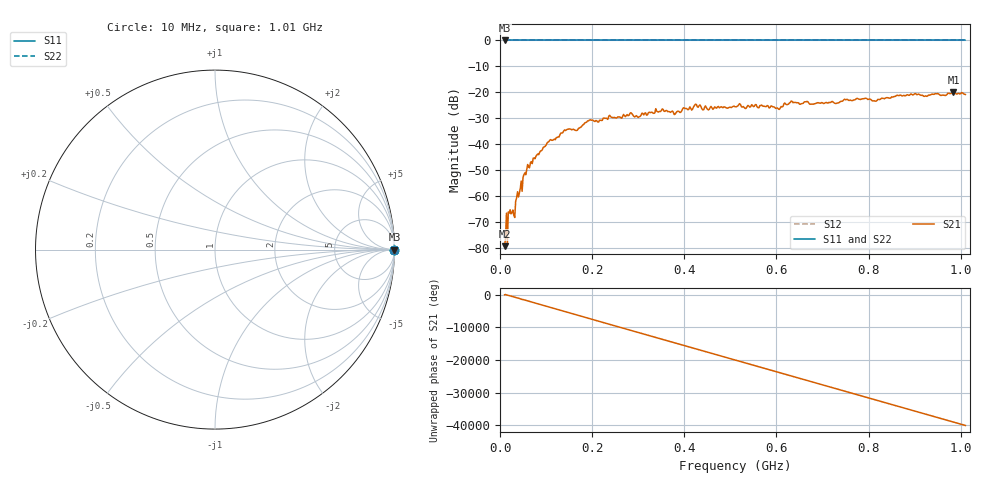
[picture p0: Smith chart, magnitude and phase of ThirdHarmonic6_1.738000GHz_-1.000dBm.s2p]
! 8/16/2025 8:57:01 PM
! C:\ANRITSUVNA\TEMP\TEMP.S2P
! CHANNEL.1
! TR.MEASUREMENT
! RAW.DATA
! RF.CORRECTION.OFF
! AVERAGING.OFF
! IF.BANDWIDTH: 5KHZ
! SWEEPTYPE:  FREQ.SWEEP(Linear)
! Reference Plane Port Info
! PORT:  PORT1  PORT2
! DISTANCE:  0  m  0  m
! TIME:  0  s  0  s
! PHASE.OFFSET:  0  deg.  0  deg.
! LOSS:  0  dB  0  dB
! REF.LOSS:  0  dB  0  dB
! REF.FREQ:  0  Hz  0  Hz
! Power Info
! POWER:  -20  dBm  -20  dBm
! EFF.POWER:  -20  dBm  -20  dBm
! SOURCE.ATTEN:  0  dB  0  dB
! TEST.ATTEN:  0  dB  0  dB
# GHZ S RI R 50.0
! FREQ.GHZ  S11RE  S11IM  S21RE  S21IM  S12RE  S12IM  S22RE  S22IM
!; PortSelection: Port_12
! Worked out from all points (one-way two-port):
!   501 points, 10 MHz to 1.01 GHz, reference 50 ohm
!   highest |S21| = -20.11 dB at 984 MHz (marker M1); lowest = -79.5 dB at 10 MHz (marker M2)
!   lowest |S11| = 0.0 dB at 10 MHz (marker M3)
!   |S11| at or under -10 dB: nowhere
!   |S22| runs from 0.0 to 0.0 dB; largest |S21 - S12| = 1.1
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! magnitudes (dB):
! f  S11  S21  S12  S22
! 10 MHz  0.0  -79.5  0.0  0.0
! 12 MHz  0.0  -76.2  0.0  0.0
! 18 MHz  0.0  -66.3  0.0  0.0
! 20 MHz  0.0  -66.7  0.0  0.0
! 22 MHz  0.0  -65.4  0.0  0.0
! 28 MHz  0.0  -65.5  0.0  0.0
! 54 MHz  0.0  -51.2  0.0  0.0
! 64 MHz  0.0  -49.2  0.0  0.0
! 106 MHz  0.0  -39.1  0.0  0.0
! 142 MHz  0.0  -34.8  0.0  0.0
! 178 MHz  0.0  -33.0  0.0  0.0
! 194 MHz  0.0  -30.8  0.0  0.0
! 344 MHz  0.0  -27.7  0.0  0.0
! 380 MHz  0.0  -28.5  0.0  0.0
! 424 MHz  0.0  -24.6  0.0  0.0
! 510 MHz  0.0  -25.6  0.0  0.0
! 602 MHz  0.0  -26.1  0.0  0.0
! 634 MHz  0.0  -23.6  0.0  0.0
! 678 MHz  0.0  -24.6  0.0  0.0
! 844 MHz  0.0  -22.2  0.0  0.0
! 984 MHz  0.0  -20.1  0.0  0.0
! 1.01 GHz  0.0  -20.9  0.0  0.0
